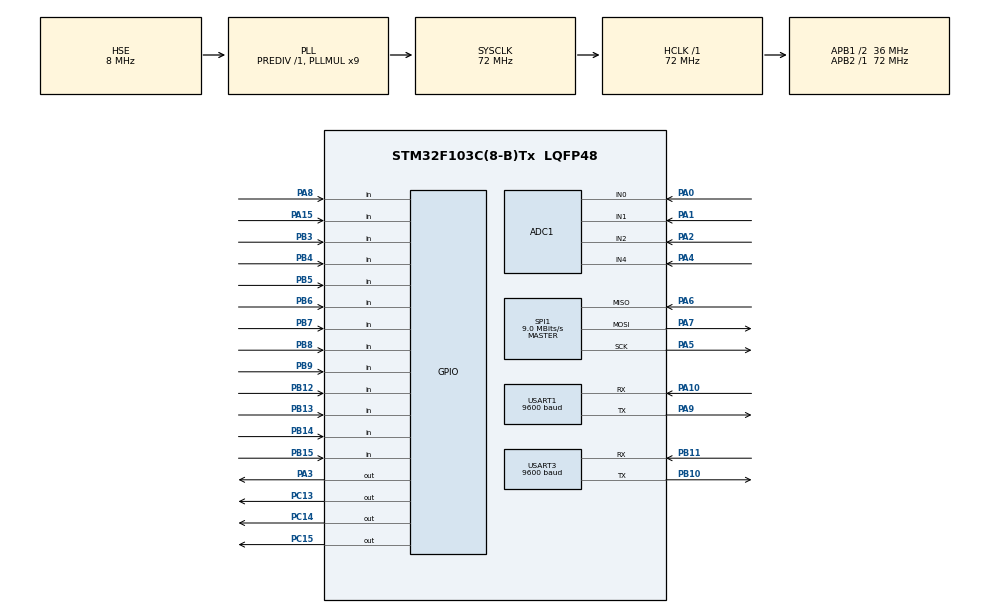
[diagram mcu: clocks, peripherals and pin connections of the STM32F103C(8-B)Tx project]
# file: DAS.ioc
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ADC1.Channel-0\#ChannelRegularConversion=ADC_CHANNEL_0
ADC1.Channel-1\#ChannelRegularConversion=ADC_CHANNEL_1
ADC1.Channel-2\#ChannelRegularConversion=ADC_CHANNEL_2
ADC1.Channel-3\#ChannelRegularConversion=ADC_CHANNEL_4
ADC1.ContinuousConvMode=ENABLE
ADC1.DiscontinuousConvMode=DISABLE
ADC1.EnableInjectedConversion=DISABLE
ADC1.InjNumberOfConversion=4
ADC1.NbrOfConversion=4
ADC1.NbrOfConversionFlag=1
ADC1.Rank-0\#ChannelRegularConversion=1
ADC1.Rank-1\#ChannelRegularConversion=2
ADC1.Rank-2\#ChannelRegularConversion=3
ADC1.Rank-3\#ChannelRegularConversion=4
ADC1.SamplingTime-0\#ChannelRegularConversion=ADC_SAMPLETIME_1CYCLE_5
ADC1.SamplingTime-1\#ChannelRegularConversion=ADC_SAMPLETIME_1CYCLE_5
ADC1.SamplingTime-2\#ChannelRegularConversion=ADC_SAMPLETIME_1CYCLE_5
ADC1.SamplingTime-3\#ChannelRegularConversion=ADC_SAMPLETIME_1CYCLE_5
ADC1.master=1
Dma.ADC1.0.Direction=DMA_PERIPH_TO_MEMORY
Dma.ADC1.0.Instance=DMA1_Channel1
Dma.ADC1.0.MemDataAlignment=DMA_MDATAALIGN_WORD
Dma.ADC1.0.MemInc=DMA_MINC_ENABLE
Dma.ADC1.0.Mode=DMA_CIRCULAR
Dma.ADC1.0.PeriphDataAlignment=DMA_PDATAALIGN_WORD
Dma.ADC1.0.PeriphInc=DMA_PINC_DISABLE
Dma.ADC1.0.Priority=DMA_PRIORITY_LOW
Dma.Request0=ADC1
FATFS._MAX_SS=4096
Mcu.Family=STM32F1
Mcu.Name=STM32F103C(8-B)Tx
Mcu.Package=LQFP48
NVIC.ADC1_2_IRQn=true\:1\:0\:true\:false\:true\:true\:true\:true
NVIC.DMA1_Channel1_IRQn=true\:0\:0\:false\:false\:true\:false\:true\:true
NVIC.PriorityGroup=NVIC_PRIORITYGROUP_4
NVIC.TIM1_UP_IRQn=true\:0\:0\:false\:false\:true\:true\:true\:true
NVIC.USART3_IRQn=true\:0\:0\:false\:false\:true\:true\:true\:true
PA0-WKUP.Signal=ADCx_IN0
PA1.Signal=ADCx_IN1
PA10.Mode=Asynchronous
PA10.Signal=USART1_RX
PA13.Mode=Serial_Wire
PA13.Signal=SYS_JTMS-SWDIO
PA14.Mode=Serial_Wire
PA14.Signal=SYS_JTCK-SWCLK
PA15.Signal=GPIO_Input
PA2.Signal=ADCx_IN2
PA3.Signal=GPIO_Output
PA4.Signal=ADCx_IN4
PA5.Mode=Full_Duplex_Master
PA5.Signal=SPI1_SCK
PA6.Mode=Full_Duplex_Master
PA6.Signal=SPI1_MISO
PA7.Mode=Full_Duplex_Master
PA7.Signal=SPI1_MOSI
PA8.Signal=GPIO_Input
PA9.Mode=Asynchronous
PA9.Signal=USART1_TX
PB10.Mode=Asynchronous
PB10.Signal=USART3_TX
PB11.Mode=Asynchronous
PB11.Signal=USART3_RX
PB12.Signal=GPIO_Input
PB13.Signal=GPIO_Input
PB14.Signal=GPIO_Input
PB15.Signal=GPIO_Input
PB3.Signal=GPIO_Input
PB4.Signal=GPIO_Input
PB5.Signal=GPIO_Input
PB6.Signal=GPIO_Input
PB7.Signal=GPIO_Input
PB8.Signal=GPIO_Input
PB9.Signal=GPIO_Input
PC13-TAMPER-RTC.Signal=GPIO_Output
PC14-OSC32_IN.Signal=GPIO_Output
PC15-OSC32_OUT.Signal=GPIO_Output
PD0-OSC_IN.Mode=HSE-External-Oscillator
PD0-OSC_IN.Signal=RCC_OSC_IN
PD1-OSC_OUT.Mode=HSE-External-Oscillator
PD1-OSC_OUT.Signal=RCC_OSC_OUT
ProjectManager.HeapSize=0x200
ProjectManager.StackSize=0x400
ProjectManager.TargetToolchain=STM32CubeIDE
RCC.ADCPresc=RCC_ADCPCLK2_DIV6
RCC.AHBFreq_Value=72000000
RCC.APB1CLKDivider=RCC_HCLK_DIV2
RCC.APB1Freq_Value=36000000
RCC.APB1TimFreq_Value=72000000
RCC.APB2Freq_Value=72000000
RCC.APB2TimFreq_Value=72000000
RCC.HCLKFreq_Value=72000000
RCC.PLLMUL=RCC_PLL_MUL9
RCC.PLLSourceVirtual=RCC_PLLSOURCE_HSE
RCC.SYSCLKFreq_VALUE=72000000
RCC.SYSCLKSource=RCC_SYSCLKSOURCE_PLLCLK
RCC.USBFreq_Value=72000000
SH.ADCx_IN0.0=ADC1_IN0,IN0
SH.ADCx_IN1.0=ADC1_IN1,IN1
SH.ADCx_IN2.0=ADC1_IN2,IN2
SH.ADCx_IN4.0=ADC1_IN4,IN4
SPI1.BaudRatePrescaler=SPI_BAUDRATEPRESCALER_8
SPI1.CalculateBaudRate=9.0 MBits/s
SPI1.Direction=SPI_DIRECTION_2LINES
SPI1.Mode=SPI_MODE_MASTER
SPI1.VirtualType=VM_MASTER
TIM1.Period=2000-1
TIM1.Prescaler=60000-1
TIM3.Period=0xffff-1
TIM3.Prescaler=60-1
USART1.BaudRate=9600
USART1.VirtualMode=VM_ASYNC
USART3.BaudRate=9600
USART3.VirtualMode=VM_ASYNC
VP_FATFS_VS_Generic.Mode=User_defined
VP_TIM1_VS_ClockSourceINT.Mode=Internal
VP_TIM3_VS_ClockSourceINT.Mode=Internal
board=custom

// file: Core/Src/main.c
/* USER CODE BEGIN Header */
/**
  ******************************************************************************
  * @file           : main.c
  * @brief          : Main program body
  ******************************************************************************
  * @attention
  *
  * Copyright (c) 2024 STMicroelectronics.
  * All rights reserved.
  *
  * This software is licensed under terms that can be found in the LICENSE file
  * in the root directory of this software component.
  * If no LICENSE file comes with this software, it is provided AS-IS.
  *
  ******************************************************************************
  */
/* USER CODE END Header */
#include "main.h"
#include "fatfs.h"
#include <stdio.h>
#include <stdlib.h>
#include <math.h>
#include <string.h>
#include "uartRingBuffer.h"
#include "NMEA.h"
#define BAUD_RATE 9600
FATFS fs;
FIL fil;

ADC_HandleTypeDef hadc1;
DMA_HandleTypeDef hdma_adc1;

SPI_HandleTypeDef hspi1;

TIM_HandleTypeDef htim1;
TIM_HandleTypeDef htim3;

UART_HandleTypeDef huart1;
UART_HandleTypeDef huart3;

void SystemClock_Config(void);
static void MX_GPIO_Init(void);
static void MX_DMA_Init(void);
static void MX_ADC1_Init(void);
static void MX_SPI1_Init(void);
static void MX_USART1_UART_Init(void);
static void MX_USART3_UART_Init(void);
static void MX_TIM1_Init(void);
static void MX_TIM3_Init(void);
/* USER CODE BEGIN PFP */
void ADC_Select_CH0(void){
	ADC_ChannelConfTypeDef sConfig = {0};
	sConfig.Channel = ADC_CHANNEL_0;
	  sConfig.Rank = ADC_REGULAR_RANK_1;
	  sConfig.SamplingTime = ADC_SAMPLETIME_7CYCLES_5;
	  if (HAL_ADC_ConfigChannel(&hadc1, &sConfig) != HAL_OK)
	  {
	    Error_Handler();
	  }

}
void ADC_Select_CH1(void){
	ADC_ChannelConfTypeDef sConfig = {0};
	sConfig.Channel = ADC_CHANNEL_1;
	  sConfig.Rank = ADC_REGULAR_RANK_1;
	  sConfig.SamplingTime = ADC_SAMPLETIME_7CYCLES_5;
	  if (HAL_ADC_ConfigChannel(&hadc1, &sConfig) != HAL_OK)
	  {
	    Error_Handler();
	  }

}
void ADC_Select_CH2(void){
	ADC_ChannelConfTypeDef sConfig = {0};
	sConfig.Channel = ADC_CHANNEL_2;
	  sConfig.Rank = ADC_REGULAR_RANK_1;
	  sConfig.SamplingTime = ADC_SAMPLETIME_7CYCLES_5;
	  if (HAL_ADC_ConfigChannel(&hadc1, &sConfig) != HAL_OK)
	  {
	    Error_Handler();
	  }

}
void ADC_Select_CH3(void){
	ADC_ChannelConfTypeDef sConfig = {0};
	sConfig.Channel = ADC_CHANNEL_4;
	  sConfig.Rank = ADC_REGULAR_RANK_1;
	  sConfig.SamplingTime = ADC_SAMPLETIME_7CYCLES_5;
	  if (HAL_ADC_ConfigChannel(&hadc1, &sConfig) != HAL_OK)
	  {
	    Error_Handler();
	  }

}
uint32_t value[4];
uint16_t ADC_Value[4],
				 VBAT_Out_Raw_Voltage,VBAT_Out_Voltage,VBAT_Out_Raw_current,VBAT_Out_current,VBAT_current,V_Raw_speed,V_speed,
				 rpm,rphr,speed,normal,echo,sports,side_stand,charging,DAS,vechicle_on,brake,left_ind, right_ind,
				 low_beam, high_beam,alert,latitude,longitude;
int days,mont,years,hours,mins,secs,ADC_Valu0,ADC_Valu1,ADC_Valu2,ADC_Valu4;

uint8_t batteryPercentage;

float VRT,VR,RT,ln,TX,contemp;
float b = 3977, rto = 1000, vcc = 5, R = 1000, T0 = 15+273.15;
//VBAT_Out_Voltage,VBAT_current,speed,contemp,normal,echo,sports,side_stand,charging,vechicle_on, DAS,brake,left_ind,right_ind,low_beam,high_beam
char VBAT_Out_Voltage_string[50];
char VBAT_current_string[50];
char speed_string[50];
char contemp_string[50];
char normal_string[50];
char echo_string[50];
char sports_string[50];
char side_stand_string[50];
char charging_string[50];
char vechicle_on_string[50];
char DAS_string[50];
char brake_string[50];
char left_ind_string[50];
char right_ind_string[50];
char low_beam_string[50];
char high_beam_string[50];
char soc_string[50];
char dod_string[50];
char batteryPercentage_string[50];
char location_string[50];
char time_string[50];

uint8_t TxData[8],TxData1[8],TxData2[8],TxData3[8],TxData4[8],TxData5[8],TxData6[8],TxData7[8],TxData8[8],TxData9[8],TxData10[8],TxData11[8],TxData12[8],TxData13[8],TxData14[8],TxData15[8],TxData16[8],TxData17[8],TxData18[8],TxData19[8],TxData20[8],TxData21[8],TxData22[8],TxData23[8],TxData24[8],TxData25[8],TxData26[8],TxData27[8],TxData28[8],TxData29[8],TxData30[8],TxData31[8];

#define VOLTAGE_MAX 84       // Maximum battery voltage (fully charged)
#define VOLTAGE_mins 54       // minsimum battery voltage (considered empty)

// Define the lookup table for voltage and SOC
#define TABLE_SIZE 11 // Number of entries in the table
const uint16_t voltage_table[TABLE_SIZE] = {84, 81, 78, 75, 72, 69, 66, 63, 60, 57, 54};
const uint8_t soc_table[TABLE_SIZE] = {100, 90, 80, 70, 60, 50, 40, 30, 20, 10, 0};

// Lookup table for voltage, current, and DoD
const uint16_t current_table[TABLE_SIZE] = {0, 5, 10, 15, 20, 25, 30, 35, 40, 45, 50};
const uint8_t dod_table[TABLE_SIZE] = {0, 10, 20, 30, 40, 50, 60, 70, 80, 90, 100};

char GGA[100];
char RMC[100];

GPSSTRUCT gpsData;

int flagGGA = 0, flagRMC = 0;
char time [50];
char location [50];
char NS;
char EW;

int VCCTimeout = 5000; // GGA or RMC will not be received if the VCC is not sufficient

/* USER CODE END PFP */

/* USER CODE BEGIN 0 */
// Function to look up SOC based on voltage
uint8_t lookupSOC(uint16_t voltage) {
    // Search the voltage table for the closest match
    for (int i = 0; i < TABLE_SIZE; i++) {
        if (voltage >= voltage_table[i]) {
            // Linear interpolation between two nearest points
            if (i == TABLE_SIZE - 1 || voltage <= voltage_table[i + 1]) {
                // Calculate SOC using linear interpolation
                uint8_t soc = soc_table[i] + (voltage - voltage_table[i]) * (soc_table[i + 1] - soc_table[i]) / (voltage_table[i + 1] - voltage_table[i]);
                return soc;
            }
        }
    }
    // Default return value if voltage is out of range
    return 0;
}

// Function to look up DoD based on voltage and current
uint8_t lookupDoD(uint16_t voltage, uint16_t current) {
    // Search the voltage and current table for the closest match
    for (int i = 0; i < TABLE_SIZE; i++) {
        if (voltage >= voltage_table[i] && current >= current_table[i]) {
            // Linear interpolation between two nearest points
            if (i == TABLE_SIZE - 1 || (voltage <= voltage_table[i + 1] && current <= current_table[i + 1])) {
                // Calculate DoD using linear interpolation
                uint8_t dod = dod_table[i] + (voltage - voltage_table[i]) * (dod_table[i + 1] - dod_table[i]) / (voltage_table[i + 1] - voltage_table[i]);
                return dod;
            }
        }
    }
    // Default return value if voltage or current is out of range
    return 0;
}

uint8_t calculateBatteryPercentage(float voltage)
{
    // Calculate battery percentage
    float percentage = ((voltage - VOLTAGE_mins) / (VOLTAGE_MAX - VOLTAGE_mins)) * 100;

    // Ensure percentage is within valid range (0 to 100)
    if (percentage < 0)
    {
        percentage = 0;
    }
    else if (percentage > 100)
    {
        percentage = 100;
    }

    return (uint8_t)percentage;
}
/* USER CODE END 0 */

int main(void)
{
  /* USER CODE BEGIN 1 */
	char uart_buf[1000];
					  	int uart_buf_len;
  /* USER CODE END 1 */

  /* MCU Configuration--------------------------------------------------------*/

  /* Reset of all peripherals, Initializes the Flash interface and the Systick. */
  HAL_Init();

  /* Configure the system clock */
  SystemClock_Config();

  /* Initialize all configured peripherals */
  MX_GPIO_Init();
  MX_DMA_Init();
  MX_ADC1_Init();
  MX_SPI1_Init();
  MX_USART1_UART_Init();
  MX_USART3_UART_Init();
  MX_TIM1_Init();
  MX_TIM3_Init();
  MX_FATFS_Init();
  /* USER CODE BEGIN 2 */
  //HAL_ADC_Start_DMA(&hadc1,ADC_Value,4);
  //HAL_ADC_Start_DMA(&hadc1, value, 4);
  f_mount(&fs, "", 0);
   	    f_open(&fil, "DAS.txt", FA_OPEN_ALWAYS | FA_WRITE | FA_READ);
   	  	f_lseek(&fil, fil.fsize);
   	  	f_puts("Logging Vechicle Data...\n", &fil);
   	  	f_close(&fil);

   	 Ringbuf_init();
  /* USER CODE END 2 */

  /* Infinite loop */
  while (1)
  {
	  ADC_Select_CH0();
	  	  	  HAL_ADC_Start(&hadc1);
	  	  	  HAL_ADC_PollForConversion(&hadc1, 1000);

	  	  	 	  	 	 ADC_Valu0 = HAL_ADC_GetValue(&hadc1);

	  	  	 	        VBAT_Out_Raw_Voltage		=		(((ADC_Valu0)*3.3)/4095);
	  	  	 	         VBAT_Out_Voltage			=		(((VBAT_Out_Raw_Voltage * (68+2.2))/2.2));
	  	        HAL_ADC_Stop(&hadc1);

	  	  	  ADC_Select_CH1();
	  	  	  HAL_ADC_Start(&hadc1);
	  	  	  HAL_ADC_PollForConversion(&hadc1, 1000);
	  	  	 	         	ADC_Valu1 = HAL_ADC_GetValue(&hadc1);

	  	  	 	         VBAT_Out_Raw_current		=		(((ADC_Valu1)*3.3)/4095);
	  	  	 	  	     VBAT_Out_current			=		((( VBAT_Out_Raw_current* (68+2.2))/2.2));
	  	  	 	  	     VBAT_current          =      VBAT_Out_current/0.75;
	  	  	  HAL_ADC_Stop(&hadc1);

	  	  	  ADC_Select_CH2();
	  	  	  HAL_ADC_Start(&hadc1);
	  	  	  HAL_ADC_PollForConversion(&hadc1, 1000);
	  	  	 	  	     	 ADC_Valu2 = HAL_ADC_GetValue(&hadc1);

	  	  	 	         V_Raw_speed		=		(((ADC_Valu2)*3.3)/4095);
	  	  	 	  		 V_speed			=		(((V_Raw_speed* (51+4.7))/4.7)); //VBAT_Out_Voltage,VBAT_current,speed,contemp
	  	  	 	  		 rpm = (V_speed)*652;
	  	  	 	  	     rphr = rpm*60;
	  	  	 	  	     speed =0.001356*rphr;
	  	  	  HAL_ADC_Stop(&hadc1);

	  	  	  ADC_Select_CH3();
	  	  	  HAL_ADC_Start(&hadc1);
	  	  	  HAL_ADC_PollForConversion(&hadc1, 1000);
	  	  	 	  	    	  ADC_Valu4 = HAL_ADC_GetValue(&hadc1);
	  	  	 	  	     VRT = (((ADC_Valu4)*3.3)/4095);      //Conversion to voltage
	  	  	 	  		 VR = vcc - VRT;
	  	  	 	     	 RT = VRT / (VR / R);               //Resistance of RT

	  	  	 	  		 ln = log(RT / rto);
	  	  	 	  		 TX = (1 / ((ln / b) + (1 / T0))); //Temperature from thermistor

	  	  	 	  		 contemp = TX - 273.15 - 110;
	  	  	   HAL_ADC_Stop(&hadc1);

	  	  	 	  	    uint16_t voltage = VBAT_Out_Voltage;
	  	  	 	  	    uint16_t current =  VBAT_current;
	  	  	 	  	    uint8_t dod = lookupDoD(voltage, current);
	  	  	 	  	    uint8_t soc = 50;//lookupSOC(voltage);
	  	  	 	  	 // Calculate battery percentage
	  	  	 	  	    batteryPercentage = calculateBatteryPercentage(VBAT_Out_Voltage);

	  	  	 	  	    HAL_GPIO_WritePin(GPIOC, GPIO_PIN_13, GPIO_PIN_SET);

	  	  	 	  			  	 	  		   	 		if(HAL_GPIO_ReadPin (GPIOB, GPIO_PIN_3))  { //Check if button pressed

	  	  	 	  			  	 	  		   	 			 	  			 normal = 1; //vechicle normal mode

	  	  	 	  			  	 	  		   	 		}
	  	  	 	  			  	 	  		   	 		else{

	  	  	 	  			  	 	  		   	                              normal = 0;

	  	  	 	  			  	 	  		   	 		}

	  	  	 	  			  	 	  		   	 	if(HAL_GPIO_ReadPin (GPIOA, GPIO_PIN_15))  { //Check if button pressed

	  	  	 	  			  	 	  		   	 			 	  		  echo = 1; //vechicle echo mode

	  	  	 	  			  	 	  		   	 	}
	  	  	 	  			  	 	  		   	 	else{

	  	  	 	  			  	 	  		   	 			 	  	  	 echo = 0;//VBAT_Out_Voltage,VBAT_current,speed,contemp,normal,echo,sports,

	  	  	 	  			  	 	  		   	 	}
	  	  	 	  			  	 	  		   	 	if(HAL_GPIO_ReadPin (GPIOB, GPIO_PIN_12))  { //Check if button pressed

	  	  	 	  			  	 	  		   	 			  	  		  sports = 1; //vechicle sports mode

	  	  	 	  			  	 	  		   	 	}
	  	  	 	  			  	 	  		   	 	else{

	  	  	 	  			  	 	  		   	 			  	  		  sports = 0;

	  	  	 	  			  	 	  		   	 	}
	  	  	 	  			  	 	  		   	 	if(HAL_GPIO_ReadPin (GPIOB, GPIO_PIN_13))  { //Check if button pressed

	  	  	 	  			  	 	  		   	 				  		    side_stand = 1; //side stand status check

	  	  	 	  			  	 	  		   	 	}
	  	  	 	  			  	 	  		   	 	else{

	  	  	 	  			  	 	  		   	 				  		   side_stand = 0;
	  	  	 	  			  	 	  		   	 	}
	  	  	 	  			  	 	  		   	 	if(HAL_GPIO_ReadPin (GPIOB, GPIO_PIN_14))  { //Check if button pressed

	  	  	 	  			  	 	  		   	 			  	  		  	charging = 1; //charging status check

	  	  	 	  			  	 	  		   	 	}
	  	  	 	  			  	 	  		   	 	else{

	  	  	 	  			  	 	  		   	 			  	  		    charging = 0;

	  	  	 	  			  	 	  		   	 	}
	  	  	 	  			  	 	  		   	  if(HAL_GPIO_ReadPin (GPIOB, GPIO_PIN_15))  { //Check if button pressed

	  	  	 	  			  	 	  		   	 			  	  		   vechicle_on = 1; //vechicle status check

	  	  	 	  			  	 	  		   	 	}
	  	  	 	  			  	 	  		   	 	else{

	  	  	 	  			  	 	  		   	 			  	  		  vechicle_on = 0;

	  	  	 	  			  	 	  		   	 	}
	  	  	 	  			  	 	  		   	  if(HAL_GPIO_ReadPin (GPIOB, GPIO_PIN_4))  { //Check if button pressed

	  	  	 	  			  	 	  		   	 			  	  	  		  DAS = 1; // DAS status check
	  	  	 	  			  	 	  		   	 			  	 HAL_GPIO_WritePin(GPIOC, GPIO_PIN_13, GPIO_PIN_SET);

	  	  	 	  			  	 	  		   	 	 }
	  	  	 	  			  	 	  		   	 	else{

	  	  	 	  			  	 	  		   	 			  	  	  		 DAS = 0;

	  	  	 	  			  	 	  		   	 	}
	  	  	 	  			  	 	  		   	 	if(HAL_GPIO_ReadPin (GPIOB, GPIO_PIN_7))  { //Check if button pressed

	  	  	 	  			  	 	  		   	 		 	  			  	  brake = 1; // brake status check

	  	  	 	  			  	 	  		   	 		 }
	  	  	 	  			  	 	  		   	 	else{

	  	  	 	  			  	 	  		   	 		 	  			  	   brake = 0;

	  	  	 	  			  	 	  		   	 	}
	  	  	 	  			  	 	  		   	 	 if(HAL_GPIO_ReadPin (GPIOB, GPIO_PIN_6))  { //Check if button pressed

	  	  	 	  			  	 	  		   	 		 	  			  	 	left_ind = 1; // indicator status check

	  	  	 	  			  	 	  		   	 		  }
	  	  	 	  			  	 	  		   	 		 else{

	  	  	 	  			  	 	  		   	 		 	  			  	 	 left_ind = 0;

	  	  	 	  			  	 	  		   	 		}
	  	  	 	  			  	 	  		   	 	 if(HAL_GPIO_ReadPin (GPIOB, GPIO_PIN_5))  { //Check if button pressed

	  	  	 	  			  	 	  		   	 		 	  			  right_ind = 1; // indicator status check

	  	  	 	                                           }
	  	  	 	  			  	 	  		   	 		else{

	  	  	 	  			  	 	  		   	 		 	  			    right_ind = 0;
	  	  	 	  			  	 	  		   	 		 	 }
	  	  	 	  			  	 	  		   	 	if(HAL_GPIO_ReadPin (GPIOB, GPIO_PIN_8))  { //Check if button pressed

	  	  	 	  			  	 	  		   	 		 		           low_beam = 1; // low beam status check

	  	  	 	  			  	 	  		   	 	 }
	  	  	 	  			  	 	  		   	 	else{

	  	  	 	  			  	 	  		   	 		 	                low_beam = 0;

	  	  	 	  			  	 	  		   	 		}
	  	  	 	  		 		   	 			  if(HAL_GPIO_ReadPin (GPIOB, GPIO_PIN_9))  { //Check if button pressed

	  	  	 	  			  	 	  		   	 			 		  	 high_beam = 1; // high beam status check

	  	  	 	                                         }
	  	  	 	  			  	 	  		   	 	else{//VBAT_Out_Voltage,VBAT_current,speed,contemp,normal,echo,sports,side_stand,charging,vechicle_on, DAS,brake,left_ind,right_ind,low_beam,high_beam
	  	  	 	  			  	 	  		   	 		                 high_beam = 0;

	  	  	 	  			  	 	  		   	 		 	}

	  	  	 	  		 		   	 			  if((side_stand == 1) || (charging == 1)||(( soc<=5))){
	  	  	 	  		 		   	 			        HAL_GPIO_WritePin(GPIOC, GPIO_PIN_14, GPIO_PIN_SET);
	  	  	 	  		 		   	 	                HAL_GPIO_WritePin(GPIOC, GPIO_PIN_15, GPIO_PIN_SET);
	  	  	 	  		 		   	 	                 alert=1;// Alert signal
	  	  	 	  		 		   	 			  }
	  	  	 	  		 		   	 			  else{
	  	  	 	  		 		   	            		 HAL_GPIO_WritePin(GPIOC, GPIO_PIN_14, GPIO_PIN_RESET);
	  	  	 	  		 		   	 				 	 HAL_GPIO_WritePin(GPIOC, GPIO_PIN_15, GPIO_PIN_RESET);
	  	  	 	  		 		   	 				     alert=0;
	  	  	 	  		 		   	 			  }
	  	  	 	  		 		   	 			memset(VBAT_Out_Voltage_string, 0, sizeof(VBAT_Out_Voltage_string));
	  	  	 	  		 		   	 					 		   	 			 	      	        memset(VBAT_current_string, 0, sizeof(VBAT_current_string));
	  	  	 	  		 		   	 					 		   	 			 	      	        memset(speed_string, 0, sizeof(speed_string));

	  	  	 	  		 		   	 					 		   	 		                        memset(contemp_string, 0, sizeof(contemp_string));
	  	  	 	  		 		   	 					 		   	 			 	      	        memset(normal_string, 0, sizeof(normal_string));
	  	  	 	  		 		   	 					 		   	 			 	      	        memset(echo_string, 0, sizeof(echo_string));

	  	  	 	  		 		   	 					 		   	 		                        memset(sports_string, 0, sizeof(sports_string));
	  	  	 	  		 		   	 					 		   	 			 	      	        memset(side_stand_string, 0, sizeof(side_stand_string));
	  	  	 	  		 		   	 					 		   	 			 	      	        memset(charging_string, 0, sizeof(charging_string));

	  	  	 	  		 		   	 					 		   	 		                        memset(vechicle_on_string, 0, sizeof(vechicle_on_string));
	  	  	 	  		 		   	 					 		   	 			 	      	        memset(DAS_string, 0, sizeof(DAS_string));
	  	  	 	  		 		   	 					 		   	 			 	      	        memset(brake_string, 0, sizeof(brake_string));

	  	  	 	  		 		   	 					 		   	 		                        memset(left_ind_string, 0, sizeof(left_ind_string));
	  	  	 	  		 		   	 					 		   	 			 	      	        memset(right_ind_string, 0, sizeof(right_ind_string));
	  	  	 	  		 		   	 					 		   	 			 	      	        memset(low_beam_string, 0, sizeof(low_beam_string));

	  	  	 	  		 		   	 					 		   	 		                        memset(high_beam_string, 0, sizeof(high_beam_string));
	  	  	 	  		 		   	 					 		   	 			 	      	       // memset(temp_string, 0, sizeof(temp_string));
	  	  	 	  		 		   	 					 		   	 			 	      	       // memset(press_string, 0, sizeof(press_string));

	  	  	 	  		 		   	 			 		   	 		                        memset(soc_string, 0, sizeof(soc_string));
	  	  	 	  		 		   	 			 		   	 			 	      	        memset(dod_string, 0, sizeof(dod_string));
	  	  	 	  		 		   	 			 		   	 			 	      	        memset(batteryPercentage_string, 0, sizeof(batteryPercentage_string));

	  	  	 	  		 		   	 					 		   	 			 	                sprintf(VBAT_Out_Voltage_string, "VBAT_Out_Voltage %03.1f%% ",VBAT_Out_Voltage);

	  	  	 	  		 		   	 					 		   	 			 	      	 	    sprintf(VBAT_current_string, "VBAT_current %03.1fC ", VBAT_current);
	  	  	 	  		 		   	 					 		   	 			 	      	 	    sprintf(speed_string, "speed %03.1fhPa\n", speed);
	  	  	 	  		 		   	 					 		   	 			 	      	 	    sprintf(contemp_string, "temperature %03.1f%% ",contemp);
	  	  	 	  		 		   	 					 		   	 			 	      	 	    sprintf(normal_string, "normal %03.1fC ", normal);
	  	  	 	  		 		   	 					 		   	 			 	      	 	    sprintf(echo_string, "echo %03.1fhPa\n",echo);

	  	  	 	  		 		   	 					 		   	 			 	                sprintf(sports_string, "sports %03.1f%% ",sports);

	  	  	 	  		 		   	 					 		   	 			 	      	 	    sprintf(side_stand_string, "side_stand %03.1fC ", side_stand);
	  	  	 	  		 		   	 					 		   	 			 	      	 	    sprintf(charging_string, "charging %03.1fhPa\n", charging);
	  	  	 	  		 		   	 					 		   	 			 	      	 	    sprintf(vechicle_on_string, "vechicle_on %03.1f%% ",vechicle_on);
	  	  	 	  		 		   	 					 		   	 			 	      	 	    sprintf(DAS_string, "DAS %03.1fC ", DAS);
	  	  	 	  		 		   	 					 		   	 			 	      	 	    sprintf(brake_string, "brake %03.1fhPa\n",brake);

	  	  	 	  		 		   	 					 		   	 			 	      	 	    sprintf(left_ind_string, "left_ind %03.1fC ", left_ind);
	  	  	 	  		 		   	 					 		   	 			 	      	 	    sprintf(right_ind_string, "right_ind %03.1fhPa\n", right_ind);
	  	  	 	  		 		   	 					 		   	 			 	      	 	    sprintf(low_beam_string, "low_beam %03.1f%% ",low_beam);

	  	  	 	  		 		   	 					 		   	 			 	      	 	    sprintf(high_beam_string, "high_beam %03.1fC ", high_beam);

	  	  	 	  		 		   	 					 		   	 			 	      	 	    sprintf(dod_string, "dod %03.1fC ", dod);
	  	  	 	  		 		   	 					 		   	 			 	      	 	    sprintf(soc_string, "soc %03.1fhPa\n", soc);
	  	  	 	  		 		   	 					 		   	 			 	      	 	    sprintf(batteryPercentage_string, "batteryPercentage %03.1f%% ",batteryPercentage);

	  	  	 	  		 		   	 					 		   	 			 	      	f_open(&fil, "DAS.txt", FA_OPEN_ALWAYS | FA_WRITE | FA_READ);
	  	  	 	  		 		   	 					 		   	 			 	      		 	        f_lseek(&fil, fil.fsize);

	  	  	 	  		 		   	 					 		   	 			 	      		 	        f_puts(VBAT_Out_Voltage_string, &fil);
	  	  	 	  		 		   	 					 		   	 			 	      		 	        f_puts(VBAT_current_string, &fil);
	  	  	 	  		 		   	 					 		   	 			 	      		 	        f_puts(contemp_string, &fil);

	  	  	 	  		 		   	 					 		   	 			 	      		 	        f_puts(normal_string, &fil);
	  	  	 	  		 		   	 					 		   	 			 	      		 	        f_puts(echo_string, &fil);
	  	  	 	  		 		   	 					 		   	 			 	      		 	        f_puts(sports_string, &fil);

	  	  	 	  		 		   	 					 		   	 			 	      		 	        f_puts(side_stand_string, &fil);
	  	  	 	  		 		   	 					 		   	 			 	      		 	        f_puts(charging_string, &fil);
	  	  	 	  		 		   	 					 		   	 			 	      		 	        f_puts(vechicle_on_string, &fil);

	  	  	 	  		 		   	 					 		   	 			 	      		 	        f_puts(DAS_string, &fil);
	  	  	 	  		 		   	 					 		   	 			 	      		 	        f_puts(brake_string, &fil);
	  	  	 	  		 		   	 					 		   	 			 	      		 	        f_puts(left_ind_string, &fil);

	  	  	 	  		 		   	 					 		   	 			 	      		 	        f_puts(right_ind_string, &fil);
	  	  	 	  		 		   	 					 		   	 			 	      		 	        f_puts(low_beam_string, &fil);
	  	  	 	  		 		   	 					 		   	 			 	      		 	        f_puts(high_beam_string, &fil);

	  	  	 	  		 		   	 					 		   	 			 	      		 	        f_puts(dod_string, &fil);
	  	  	 	  		 		   	 					 		   	 			 	      		 	        f_puts(soc_string, &fil);
	  	  	 	  		 		   	 					 		   	 			 	      		 	        f_puts(batteryPercentage_string, &fil);

	  	  	 	  		 		   	 					 		   	 			 	      		 	        f_puts(time, &fil);
	  	  	 	  		 		   	 					 		   	 			 	      		 	        f_puts(location, &fil);
	  	  	 	  		 		   	 					 		   	 			 	      		 	        f_close(&fil);

	  	  	 	  			// HAL_UART_Transmit (&huart1, data, sizeof (data), 1000);//VBAT_Out_Voltage,VBAT_current,speed,contemp,normal,echo,sports,side_stand,charging,vechicle_on, DAS,brake,left_ind,right_ind,low_beam,high_beam
	  	  	 	   uart_buf_len = sprintf(uart_buf,"{\"voltage\":%d,\"current\":%d,\"speed\":%d,\"temp\":%d,\"normal\":%d,\"echo\":%d,\"sports\":%d,\"side_stand\":%d,\"charging\":%d,\"vechicle_on\":%d,\"DAS\":%d,\"brake\":%d,\"left_ind\":%d,\"right_ind\":%d,\"low_beam\":%d,\"high_beam\":%d,\"soc\":%d,\"dod\":%d,\"batteryPercentage\":%d,\"latitude\":13.0728,\"NS\":N,\"longitude\":80.2042,\"EW\":E,\"hour\":23,\"min\":30,\"sec\":15,\"day\":29,\"mon\":03,\"year\":2003,\"trip\":60,\"range\":80}\n",(int)VBAT_Out_Voltage,(int)VBAT_current,(int)speed,(int)contemp,(int)normal,(int)echo,(int)sports,(int)side_stand,(int)charging,(int)vechicle_on,(int)DAS,(int)brake,(int)left_ind,(int)right_ind,(int)low_beam,(int)high_beam,(int)soc,(int)dod);//,(int)batteryPercentage,(int)latitude,NS,(int)longitude,EW,(int)hours,(int)mins,(int)secs,(int)days,(int)mont,(int)years);

	  	  	 	  	 HAL_UART_Transmit(&huart1, (uint8_t *)uart_buf,uart_buf_len, 1000);
	  	  	 	  			 HAL_Delay(1000);

  }
}

void SystemClock_Config(void)
{
  RCC_OscInitTypeDef RCC_OscInitStruct = {0};
  RCC_ClkInitTypeDef RCC_ClkInitStruct = {0};
  RCC_PeriphCLKInitTypeDef PeriphClkInit = {0};

  /** Initializes the RCC Oscillators according to the specified parameters
  * in the RCC_OscInitTypeDef structure.
  */
  RCC_OscInitStruct.OscillatorType = RCC_OSCILLATORTYPE_HSE;
  RCC_OscInitStruct.HSEState = RCC_HSE_ON;
  RCC_OscInitStruct.HSEPredivValue = RCC_HSE_PREDIV_DIV1;
  RCC_OscInitStruct.HSIState = RCC_HSI_ON;
  RCC_OscInitStruct.PLL.PLLState = RCC_PLL_ON;
  RCC_OscInitStruct.PLL.PLLSource = RCC_PLLSOURCE_HSE;
  RCC_OscInitStruct.PLL.PLLMUL = RCC_PLL_MUL9;
  if (HAL_RCC_OscConfig(&RCC_OscInitStruct) != HAL_OK)
  {
    Error_Handler();
  }

  /** Initializes the CPU, AHB and APB buses clocks
  */
  RCC_ClkInitStruct.ClockType = RCC_CLOCKTYPE_HCLK|RCC_CLOCKTYPE_SYSCLK
                              |RCC_CLOCKTYPE_PCLK1|RCC_CLOCKTYPE_PCLK2;
  RCC_ClkInitStruct.SYSCLKSource = RCC_SYSCLKSOURCE_PLLCLK;
  RCC_ClkInitStruct.AHBCLKDivider = RCC_SYSCLK_DIV1;
  RCC_ClkInitStruct.APB1CLKDivider = RCC_HCLK_DIV2;
  RCC_ClkInitStruct.APB2CLKDivider = RCC_HCLK_DIV1;

  if (HAL_RCC_ClockConfig(&RCC_ClkInitStruct, FLASH_LATENCY_2) != HAL_OK)
  {
    Error_Handler();
  }
  PeriphClkInit.PeriphClockSelection = RCC_PERIPHCLK_ADC;
  PeriphClkInit.AdcClockSelection = RCC_ADCPCLK2_DIV6;
  if (HAL_RCCEx_PeriphCLKConfig(&PeriphClkInit) != HAL_OK)
  {
    Error_Handler();
  }
}

static void MX_ADC1_Init(void)
{

  ADC_ChannelConfTypeDef sConfig = {0};

  /** Common config
  */
  hadc1.Instance = ADC1;
  hadc1.Init.ScanConvMode = ADC_SCAN_ENABLE;
  hadc1.Init.ContinuousConvMode = ENABLE;
  hadc1.Init.DiscontinuousConvMode = DISABLE;
  hadc1.Init.ExternalTrigConv = ADC_SOFTWARE_START;
  hadc1.Init.DataAlign = ADC_DATAALIGN_RIGHT;
  hadc1.Init.NbrOfConversion = 1;
  if (HAL_ADC_Init(&hadc1) != HAL_OK)
  {
    Error_Handler();
  }

  /** Configure Regular Channel

  sConfig.Channel = ADC_CHANNEL_0;
  sConfig.Rank = ADC_REGULAR_RANK_1;
  sConfig.SamplingTime = ADC_SAMPLETIME_1CYCLE_5;
  if (HAL_ADC_ConfigChannel(&hadc1, &sConfig) != HAL_OK)
  {
    Error_Handler();
  }

  /** Configure Regular Channel

  sConfig.Channel = ADC_CHANNEL_1;
  sConfig.Rank = ADC_REGULAR_RANK_2;
  if (HAL_ADC_ConfigChannel(&hadc1, &sConfig) != HAL_OK)
  {
    Error_Handler();
  }

  /** Configure Regular Channel

  sConfig.Channel = ADC_CHANNEL_2;
  sConfig.Rank = ADC_REGULAR_RANK_3;
  if (HAL_ADC_ConfigChannel(&hadc1, &sConfig) != HAL_OK)
  {
    Error_Handler();
  }

  /** Configure Regular Channel

  sConfig.Channel = ADC_CHANNEL_4;
  sConfig.Rank = ADC_REGULAR_RANK_4;
  if (HAL_ADC_ConfigChannel(&hadc1, &sConfig) != HAL_OK)
  {
    Error_Handler();
  }

}

static void MX_SPI1_Init(void)
{

  /* SPI1 parameter configuration*/
  hspi1.Instance = SPI1;
  hspi1.Init.Mode = SPI_MODE_MASTER;
  hspi1.Init.Direction = SPI_DIRECTION_2LINES;
  hspi1.Init.DataSize = SPI_DATASIZE_8BIT;
  hspi1.Init.CLKPolarity = SPI_POLARITY_LOW;
  hspi1.Init.CLKPhase = SPI_PHASE_1EDGE;
  hspi1.Init.NSS = SPI_NSS_SOFT;
  hspi1.Init.BaudRatePrescaler = SPI_BAUDRATEPRESCALER_8;
  hspi1.Init.FirstBit = SPI_FIRSTBIT_MSB;
  hspi1.Init.TIMode = SPI_TIMODE_DISABLE;
  hspi1.Init.CRCCalculation = SPI_CRCCALCULATION_DISABLE;
  hspi1.Init.CRCPolynomial = 10;
  if (HAL_SPI_Init(&hspi1) != HAL_OK)
  {
    Error_Handler();
  }

}

static void MX_TIM1_Init(void)
{

  TIM_ClockConfigTypeDef sClockSourceConfig = {0};
  TIM_MasterConfigTypeDef sMasterConfig = {0};

  htim1.Instance = TIM1;
  htim1.Init.Prescaler = 60000-1;
  htim1.Init.CounterMode = TIM_COUNTERMODE_UP;
  htim1.Init.Period = 2000-1;
  htim1.Init.ClockDivision = TIM_CLOCKDIVISION_DIV1;
  htim1.Init.RepetitionCounter = 0;
  htim1.Init.AutoReloadPreload = TIM_AUTORELOAD_PRELOAD_DISABLE;
  if (HAL_TIM_Base_Init(&htim1) != HAL_OK)
  {
    Error_Handler();
  }
  sClockSourceConfig.ClockSource = TIM_CLOCKSOURCE_INTERNAL;
  if (HAL_TIM_ConfigClockSource(&htim1, &sClockSourceConfig) != HAL_OK)
  {
    Error_Handler();
  }
  sMasterConfig.MasterOutputTrigger = TIM_TRGO_RESET;
  sMasterConfig.MasterSlaveMode = TIM_MASTERSLAVEMODE_DISABLE;
  if (HAL_TIMEx_MasterConfigSynchronization(&htim1, &sMasterConfig) != HAL_OK)
  {
    Error_Handler();
  }

}

static void MX_TIM3_Init(void)
{

  TIM_ClockConfigTypeDef sClockSourceConfig = {0};
  TIM_MasterConfigTypeDef sMasterConfig = {0};

  htim3.Instance = TIM3;
  htim3.Init.Prescaler = 60-1;
  htim3.Init.CounterMode = TIM_COUNTERMODE_UP;
  htim3.Init.Period = 0xffff-1;
  htim3.Init.ClockDivision = TIM_CLOCKDIVISION_DIV1;
  htim3.Init.AutoReloadPreload = TIM_AUTORELOAD_PRELOAD_DISABLE;
  if (HAL_TIM_Base_Init(&htim3) != HAL_OK)
  {
    Error_Handler();
  }
  sClockSourceConfig.ClockSource = TIM_CLOCKSOURCE_INTERNAL;
  if (HAL_TIM_ConfigClockSource(&htim3, &sClockSourceConfig) != HAL_OK)
  {
    Error_Handler();
  }
  sMasterConfig.MasterOutputTrigger = TIM_TRGO_RESET;
  sMasterConfig.MasterSlaveMode = TIM_MASTERSLAVEMODE_DISABLE;
  if (HAL_TIMEx_MasterConfigSynchronization(&htim3, &sMasterConfig) != HAL_OK)
  {
    Error_Handler();
  }

}

static void MX_USART1_UART_Init(void)
{

  huart1.Instance = USART1;
  huart1.Init.BaudRate = 9600;
  huart1.Init.WordLength = UART_WORDLENGTH_8B;
  huart1.Init.StopBits = UART_STOPBITS_1;
  huart1.Init.Parity = UART_PARITY_NONE;
  huart1.Init.Mode = UART_MODE_TX_RX;
  huart1.Init.HwFlowCtl = UART_HWCONTROL_NONE;
  huart1.Init.OverSampling = UART_OVERSAMPLING_16;
  if (HAL_UART_Init(&huart1) != HAL_OK)
  {
    Error_Handler();
  }

}

static void MX_USART3_UART_Init(void)
{

  huart3.Instance = USART3;
  huart3.Init.BaudRate = 9600;
  huart3.Init.WordLength = UART_WORDLENGTH_8B;
  huart3.Init.StopBits = UART_STOPBITS_1;
  huart3.Init.Parity = UART_PARITY_NONE;
  huart3.Init.Mode = UART_MODE_TX_RX;
  huart3.Init.HwFlowCtl = UART_HWCONTROL_NONE;
  huart3.Init.OverSampling = UART_OVERSAMPLING_16;
  if (HAL_UART_Init(&huart3) != HAL_OK)
  {
    Error_Handler();
  }

}

static void MX_DMA_Init(void)
{

  /* DMA controller clock enable */
  __HAL_RCC_DMA1_CLK_ENABLE();

  /* DMA interrupt init */
  /* DMA1_Channel1_IRQn interrupt configuration */
  HAL_NVIC_SetPriority(DMA1_Channel1_IRQn, 0, 0);
  HAL_NVIC_EnableIRQ(DMA1_Channel1_IRQn);

}

static void MX_GPIO_Init(void)
{
  GPIO_InitTypeDef GPIO_InitStruct = {0};

  /* GPIO Ports Clock Enable */
  __HAL_RCC_GPIOC_CLK_ENABLE();
  __HAL_RCC_GPIOD_CLK_ENABLE();
  __HAL_RCC_GPIOA_CLK_ENABLE();
  __HAL_RCC_GPIOB_CLK_ENABLE();

  /*Configure GPIO pin Output Level */
  HAL_GPIO_WritePin(GPIOC, GPIO_PIN_13|GPIO_PIN_14|GPIO_PIN_15, GPIO_PIN_RESET);

  /*Configure GPIO pin Output Level */
  HAL_GPIO_WritePin(GPIOA, GPIO_PIN_3, GPIO_PIN_RESET);

  /*Configure GPIO pins : PC13 PC14 PC15 */
  GPIO_InitStruct.Pin = GPIO_PIN_13|GPIO_PIN_14|GPIO_PIN_15;
  GPIO_InitStruct.Mode = GPIO_MODE_OUTPUT_PP;
  GPIO_InitStruct.Pull = GPIO_NOPULL;
  GPIO_InitStruct.Speed = GPIO_SPEED_FREQ_LOW;
  HAL_GPIO_Init(GPIOC, &GPIO_InitStruct);

  /*Configure GPIO pin : PA3 */
  GPIO_InitStruct.Pin = GPIO_PIN_3;
  GPIO_InitStruct.Mode = GPIO_MODE_OUTPUT_PP;
  GPIO_InitStruct.Pull = GPIO_NOPULL;
  GPIO_InitStruct.Speed = GPIO_SPEED_FREQ_LOW;
  HAL_GPIO_Init(GPIOA, &GPIO_InitStruct);

  /*Configure GPIO pins : PB12 PB13 PB14 PB15
                           PB3 PB4 PB5 PB6
                           PB7 PB8 PB9 */
  GPIO_InitStruct.Pin = GPIO_PIN_12|GPIO_PIN_13|GPIO_PIN_14|GPIO_PIN_15
                          |GPIO_PIN_3|GPIO_PIN_4|GPIO_PIN_5|GPIO_PIN_6
                          |GPIO_PIN_7|GPIO_PIN_8|GPIO_PIN_9;
  GPIO_InitStruct.Mode = GPIO_MODE_INPUT;
  GPIO_InitStruct.Pull = GPIO_NOPULL;
  HAL_GPIO_Init(GPIOB, &GPIO_InitStruct);

  /*Configure GPIO pins : PA8 PA15 */
  GPIO_InitStruct.Pin = GPIO_PIN_8|GPIO_PIN_15;
  GPIO_InitStruct.Mode = GPIO_MODE_INPUT;
  GPIO_InitStruct.Pull = GPIO_NOPULL;
  HAL_GPIO_Init(GPIOA, &GPIO_InitStruct);

}

void Error_Handler(void)
{
  __disable_irq();
  while (1)
  {
  }
}
